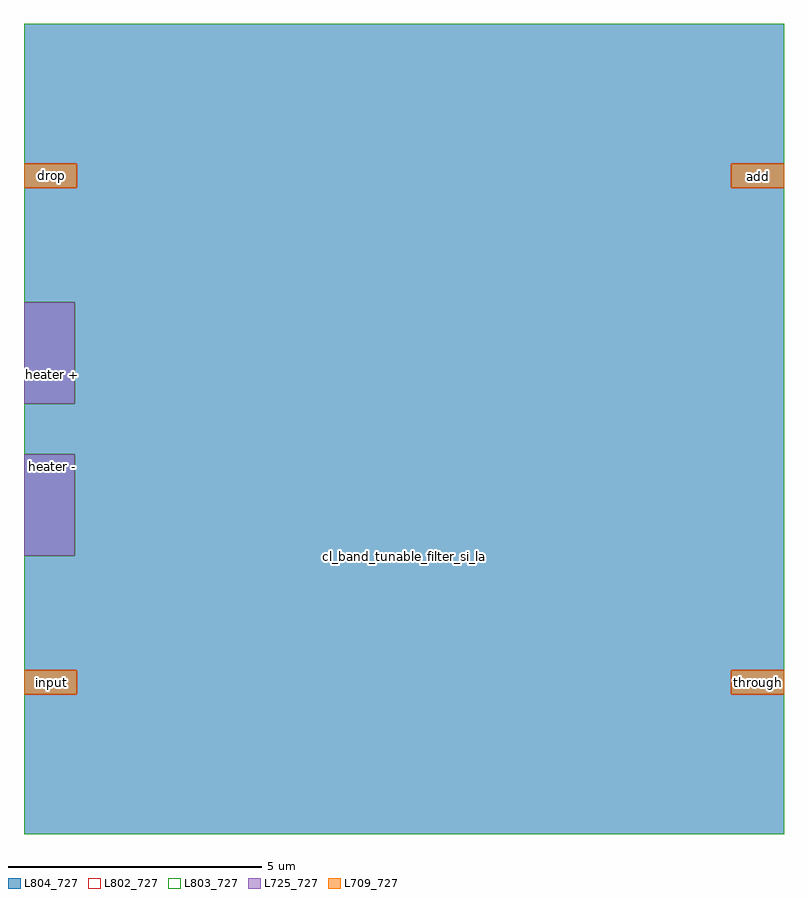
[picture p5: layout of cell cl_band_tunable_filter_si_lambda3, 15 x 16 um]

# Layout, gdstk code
import gdstk
lib = gdstk.Library(unit=1e-6, precision=1e-09)
def R(c, l, rs):  # rectangles x0, y0, x1, y1
    for r in rs: c.add(gdstk.rectangle(r[:2], r[2:], *l))
def P(c, l, *ps):  # polygons
    for p in ps: c.add(gdstk.Polygon(p, *l))
L709_727 = (709, 727)
L725_727 = (725, 727)
L802_727 = (802, 727)
L803_727 = (803, 727)
L804_727 = (804, 727)

cl_band_tunable_filter_s = lib.new_cell('cl_band_tunable_filter_si_lambda3')
R(cl_band_tunable_filter_s, L709_727, [(0,-5.24,1.04,-4.76), (13.96,-5.24,15,-4.76), (0,4.76,1.04,5.24), (13.96,4.76,15,5.24)])
R(cl_band_tunable_filter_s, L725_727, [(0,-2.5,1,-0.5), (0,0.5,1,2.5)])
P(cl_band_tunable_filter_s, L802_727, [(0,-8),(0,-5.24),(1.04,-5.24),(1.04,-4.76),(0,-4.76),(0,4.76),(1.04,4.76),(1.04,5.24),(0,5.24),(0,8),(15,8),(15,5.24),(13.96,5.24),(13.96,4.76),(15,4.76),(15,-4.76),(13.96,-4.76),(13.96,-5.24),(15,-5.24),(15,-8)])
P(cl_band_tunable_filter_s, L803_727, [(0,-8),(0,-2.5),(1,-2.5),(1,-0.5),(0,-0.5),(0,0.5),(1,0.5),(1,2.5),(0,2.5),(0,8),(15,8),(15,-8)])
R(cl_band_tunable_filter_s, L804_727, [(0,-8,15,8), (1,-5.3,14,-4.7), (1,4.7,14,5.3)])
P(cl_band_tunable_filter_s, L804_727, [(10.1,-0.3),(9.603,1.228),(9.927,1.463),(10.5,-0.3)],
  [(9.927,-2.063),(9.603,-1.828),(10.1,-0.3),(10.5,-0.3)],
  [(8.427,-3.153),(8.303,-2.773),(9.603,-1.828),(9.927,-2.063)],
  [(9.603,1.228),(8.303,2.173),(8.427,2.553),(9.927,1.463)],
  [(6.573,-3.153),(6.697,-2.773),(8.303,-2.773),(8.427,-3.153)],
  [(6.697,2.173),(6.573,2.553),(8.427,2.553),(8.303,2.173)],
  [(6.573,-3.153),(5.073,-2.063),(5.397,-1.828),(6.697,-2.773)],
  [(5.397,1.228),(5.073,1.463),(6.573,2.553),(6.697,2.173)],
  [(4.5,-0.3),(5.073,1.463),(5.397,1.228),(4.9,-0.3)],
  [(5.073,-2.063),(4.5,-0.3),(4.9,-0.3),(5.397,-1.828)])
cl_band_tunable_filter_s.add(gdstk.Label('cl_band_tunable_filter_si_lambda3', (7.5,-2.522), layer=804, texttype=727))
cl_band_tunable_filter_s.add(gdstk.Label('drop', (0.539,5.012), layer=709, texttype=728))
cl_band_tunable_filter_s.add(gdstk.Label('input', (0.539,-5.013), layer=709, texttype=728))
cl_band_tunable_filter_s.add(gdstk.Label('add', (14.488,4.979), layer=709, texttype=728))
cl_band_tunable_filter_s.add(gdstk.Label('through', (14.488,-5.013), layer=709, texttype=728))
cl_band_tunable_filter_s.add(gdstk.Label('heater -', (0.561,-0.749), layer=725, texttype=728))
cl_band_tunable_filter_s.add(gdstk.Label('heater +', (0.561,1.077), layer=725, texttype=728))

lib.write_gds('cl_band_tunable_filter_si_lambda3.gds')
